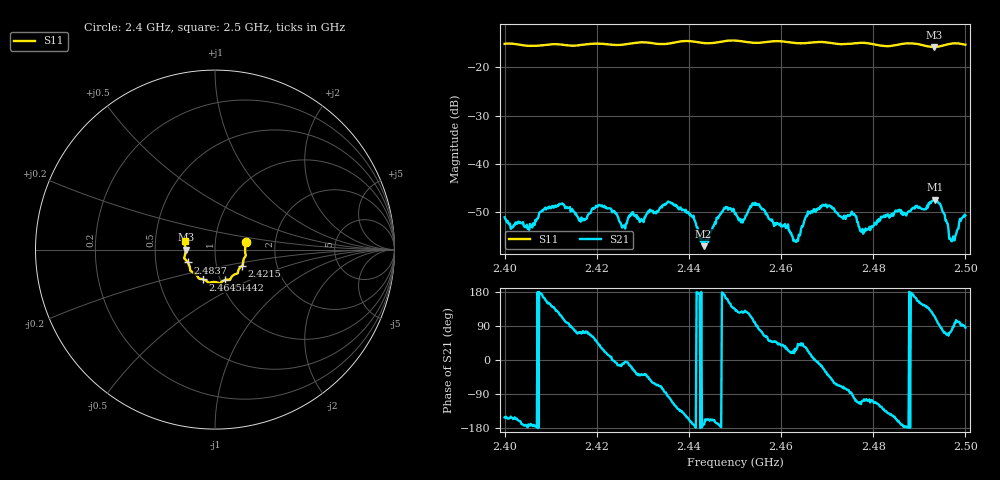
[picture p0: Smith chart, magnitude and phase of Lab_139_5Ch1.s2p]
# Hz S RI R 50
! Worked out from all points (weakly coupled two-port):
!   601 points, 2.4 GHz to 2.5 GHz, reference 50 ohm
!   highest |S21| = -47.52 dB at 2.4933 GHz (marker M1); lowest = -57.2 dB at 2.4432 GHz (marker M2)
!   lowest |S11| = -15.7 dB at 2.4932 GHz (marker M3), VSWR 1.39, Z = 35.9 - j0.0544 ohm
!   |S11| at or under -10 dB: start of sweep to end of sweep
!   S12 and S22 are empty: the file has one direction only
!   S11 on the Smith chart (normalised r, x): 2.4 GHz: 1.41, +0.12; 2.4215 GHz: 1.33, -0.25; 2.4442 GHz: 1.05, -0.37; 2.4645 GHz: 0.83, -0.29; 2.4837 GHz: 0.73, -0.11; 2.5 GHz: 0.71, +0.07
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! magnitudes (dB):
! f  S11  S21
! 2.4 GHz  -15.1  -51.2
! 2.4055 GHz  -15.5  -52.6
! 2.4123 GHz  -15.2  -48.4
! 2.4167 GHz  -15.3  -51.2
! 2.4215 GHz  -15.1  -49.1
! 2.4258 GHz  -15.2  -52.9
! 2.4333 GHz  -15.1  -50.0
! 2.4395 GHz  -14.5  -50.2
! 2.4432 GHz  -14.9  -57.2
! 2.4442 GHz  -15.0  -56.3
! 2.45 GHz  -14.4  -50.5
! 2.4548 GHz  -14.9  -48.6
! 2.4632 GHz  -14.9  -56.3
! 2.4645 GHz  -15.0  -53.1
! 2.4667 GHz  -14.8  -49.9
! 2.4777 GHz  -14.9  -53.6
! 2.4833 GHz  -15.6  -50.8
! 2.4837 GHz  -15.5  -50.9
! 2.4932 GHz  -15.7  -47.7
! 2.4933 GHz  -15.7  -47.5
! 2.497 GHz  -15.0  -56.2
! 2.5 GHz  -15.3  -50.8
